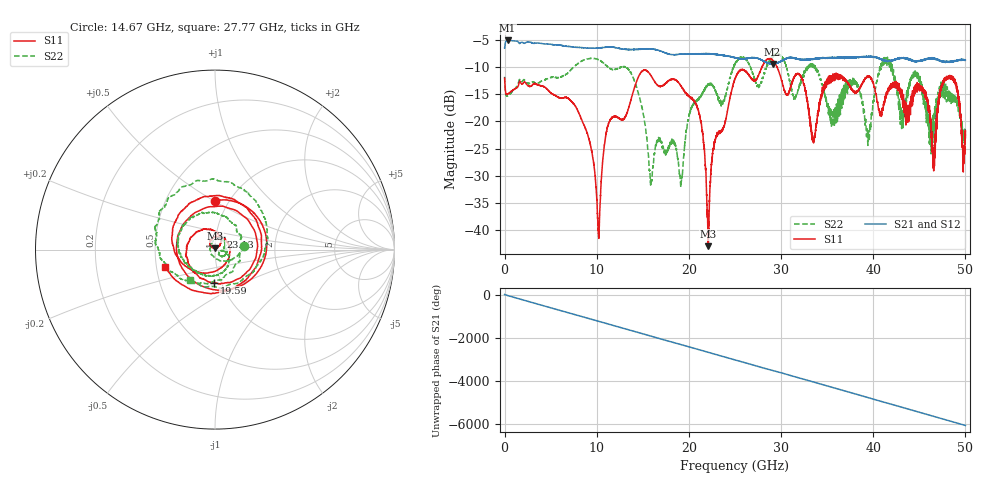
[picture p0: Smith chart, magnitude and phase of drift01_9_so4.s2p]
!Created with skrf (http://scikit-rf.org).
# Hz S RI R 50.0
!freq ReS11 ImS11 ReS21 ImS21 ReS12 ImS12 ReS22 ImS22
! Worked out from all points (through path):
!   10001 points, 300 kHz to 50 GHz, reference 50 ohm
!   highest |S21| = -5.05 dB at 325.3 MHz (marker M1); lowest = -9.4 dB at 29.08 GHz (marker M2)
!   group delay of S21, straight-line fit = 336 ps
!   lowest |S11| = -43.0 dB at 22.09 GHz (marker M3), VSWR 1.01, Z = 49.9 + j0.704 ohm
!   |S11| at or under -10 dB: start of sweep to 27.93 GHz; 29.58 GHz to end of sweep
!   |S22| runs from -32.0 to -7.4 dB; largest |S21 - S12| = 0.011
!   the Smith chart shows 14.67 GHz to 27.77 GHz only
!   S11 on the Smith chart (normalised r, x): 14.67 GHz: 0.86, +0.51; 19.59 GHz: 0.93, -0.35; 23.13 GHz: 1.05, +0.15; 27.77 GHz: 0.56, -0.12
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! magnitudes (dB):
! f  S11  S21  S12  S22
! 300 kHz  -12.0  -6.5  -6.6  -11.8
! 325.3 MHz  -15.0  -5.1  -5.1  -15.3
! 8.335 GHz  -19.6  -6.4  -6.4  -8.9
! 10.2 GHz  -41.0  -6.4  -6.4  -8.6
! 11.23 GHz  -20.7  -6.3  -6.3  -10.0
! 14.67 GHz  -11.3  -6.7  -6.7  -15.7
! 15.87 GHz  -11.5  -6.6  -6.6  -31.6
! 16.67 GHz  -13.4  -6.9  -6.9  -23.2
! 19.59 GHz  -14.7  -7.5  -7.5  -23.6
! 21.2 GHz  -19.0  -7.5  -7.5  -15.6
! 22.09 GHz  -43.0  -7.5  -7.5  -13.2
! 23.13 GHz  -22.3  -7.7  -7.6  -15.4
! 25 GHz  -12.1  -8.3  -8.3  -9.5
! 27.77 GHz  -10.6  -8.6  -8.6  -13.1
! 29.08 GHz  -8.7  -9.4  -9.4  -8.0
! 33.34 GHz  -22.7  -8.5  -8.5  -9.7
! 39.48 GHz  -11.7  -8.0  -8.1  -22.0
! 41.67 GHz  -13.9  -8.8  -8.8  -8.8
! 45.36 GHz  -13.7  -8.7  -8.7  -14.0
! 46.55 GHz  -27.6  -8.4  -8.3  -20.1
! 48.52 GHz  -11.7  -9.0  -9.0  -14.9
! 50 GHz  -23.0  -8.7  -8.7  -22.7
